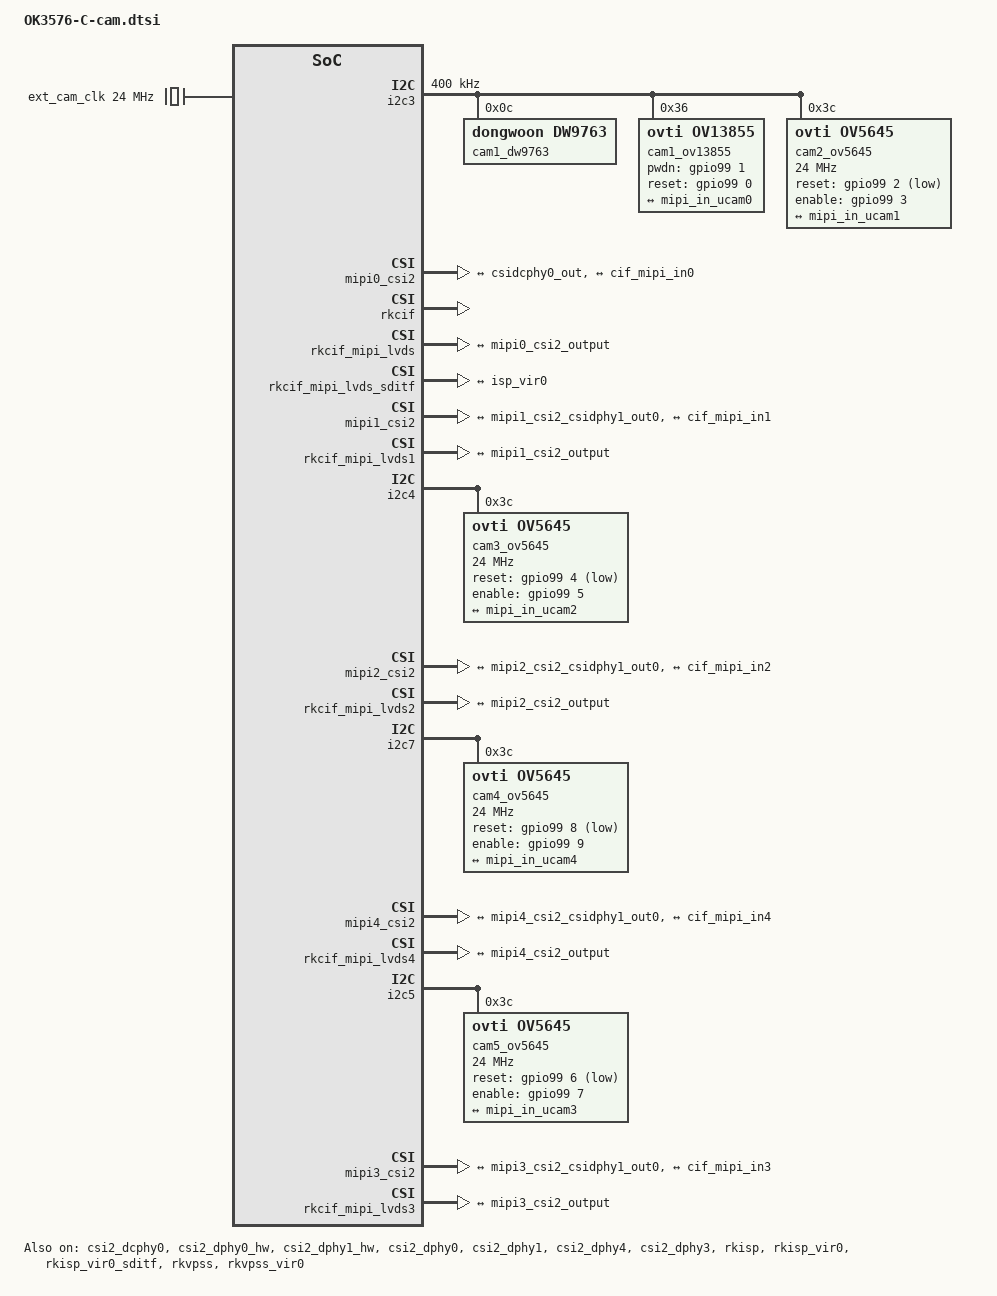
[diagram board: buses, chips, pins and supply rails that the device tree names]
// SPDX-License-Identifier: (GPL-2.0+ OR MIT)
/*
 * Copyright (c) 2024 Rockchip Electronics Co., Ltd.
 *
 */

/ {
	ext_cam_clk: external-camera-clock {
		compatible = "fixed-clock";
		clock-frequency = <24000000>;
		clock-output-names = "CLK_CAMERA_24MHZ";
		#clock-cells = <0>;
	};
};

&csi2_dcphy0 {
	status = "okay";

	ports {
		#address-cells = <1>;
		#size-cells = <0>;
		port@0 {
			reg = <0>;
			#address-cells = <1>;
			#size-cells = <0>;

			mipi_in_ucam0: endpoint@1 {
				reg = <1>;
				remote-endpoint = <&cam1_ov13855_out>;
				data-lanes = <1 2 3 4>;
			};
		};
		port@1 {
			reg = <1>;
			#address-cells = <1>;
			#size-cells = <0>;

			csidcphy0_out: endpoint@0 {
				reg = <0>;
				remote-endpoint = <&mipi0_csi2_input>;
			};
		};
	};
};

&i2c3 {
	status = "okay";
	clock-frequency = <400000>;

	cam1_dw9763: cam1-dw9763@c {
		compatible = "dongwoon,dw9763";
		status = "okay";
		reg = <0x0c>;
		rockchip,vcm-max-current = <120>;
		rockchip,vcm-start-current = <20>;
		rockchip,vcm-rated-current = <90>;
		rockchip,vcm-step-mode = <3>;
		rockchip,vcm-t-src = <0x20>;
		rockchip,vcm-t-div = <1>;
		rockchip,camera-module-index = <0>;
		rockchip,camera-module-facing = "back";
	};

	cam1_ov13855: cam1-ov13855@36 {
		compatible = "ovti,ov13855";
		status = "okay";
		reg = <0x36>;

		clocks = <&ext_cam_clk>;
		clock-names = "xvclk";

		pwdn-gpios = <&gpio99 1 GPIO_ACTIVE_HIGH>;
		reset-gpios = <&gpio99 0 GPIO_ACTIVE_HIGH>;

		rockchip,camera-module-index = <0>;
		rockchip,camera-module-facing = "back";
		rockchip,camera-module-name = "CMK-OT2016-FV1";
		rockchip,camera-module-lens-name = "default";
		lens-focus = <&cam1_dw9763>;
		port {
			cam1_ov13855_out: endpoint {
				remote-endpoint = <&mipi_in_ucam0>;
				data-lanes = <1 2 3 4>;
			};
		};
	};
};

&mipi0_csi2 {
	status = "okay";

	ports {
		#address-cells = <1>;
		#size-cells = <0>;

		port@0 {
			reg = <0>;
			#address-cells = <1>;
			#size-cells = <0>;

			mipi0_csi2_input: endpoint@1 {
				reg = <1>;
				remote-endpoint = <&csidcphy0_out>;
			};
		};

		port@1 {
			reg = <1>;
			#address-cells = <1>;
			#size-cells = <0>;

			mipi0_csi2_output: endpoint@0 {
				reg = <0>;
				remote-endpoint = <&cif_mipi_in0>;
			};
		};
	};
};

&rkcif {
	status = "okay";
};

&rkcif_mipi_lvds {
	status = "okay";

	port {
		cif_mipi_in0: endpoint {
			remote-endpoint = <&mipi0_csi2_output>;
		};
	};
};

&rkcif_mipi_lvds_sditf {
	status = "okay";

	port {
		mipi_lvds_sditf: endpoint {
			remote-endpoint = <&isp_vir0>;
		};
	};
};

//************************************************
//***  CAM2  OV5645 Configuration Description  ****
//************************************************

&csi2_dphy0_hw {
	status = "okay";
};
&csi2_dphy1_hw {
	status = "okay";
};
&i2c3 {
	status = "okay";
	cam2_ov5645: cam2_ov5645@3c {
		status = "okay";
		compatible = "ovti,ov5645";
		reg = <0x3c>;
		clocks = <&ext_cam_clk>;
		clock-names = "xclk";
		clock-frequency = <24000000>;

		reset-gpios = <&gpio99 2 GPIO_ACTIVE_LOW>;
		enable-gpios = <&gpio99 3 GPIO_ACTIVE_HIGH>;

		rockchip,camera-module-index = <1>;
		rockchip,camera-module-facing = "front";
		rockchip,camera-module-name = "NC";
		rockchip,camera-module-lens-name = "NC";
		port {
			cam2_ov5645_out: endpoint {
				remote-endpoint = <&mipi_in_ucam1>;
				data-lanes = <1 2>;
				clock-lanes = <2>;
			};
		};
	};
};

&csi2_dphy0 {
	status = "okay";
	ports {
		#address-cells = <1>;
		#size-cells = <0>;
		port@0 {
			reg = <0>;
			#address-cells = <1>;
			#size-cells = <0>;
			mipi_in_ucam1: endpoint@1 {
				reg = <1>;
				remote-endpoint = <&cam2_ov5645_out>;
				data-lanes = <1 2>;
				clock-lanes = <2>;
			};
		};
		port@1 {
			reg = <1>;
			#address-cells = <1>;
			#size-cells = <0>;
			mipi1_csi2_csidphy1_out0: endpoint@0 {
				reg = <0>;
				remote-endpoint = <&mipi1_csi2_input>;
			};
		};
	};
};

&mipi1_csi2 {
	status = "okay";
	ports {
		#address-cells = <1>;
		#size-cells = <0>;
		port@0 {
			reg = <0>;
			#address-cells = <1>;
			#size-cells = <0>;
			mipi1_csi2_input: endpoint@1 {
				reg = <1>;
				remote-endpoint = <&mipi1_csi2_csidphy1_out0>;
			};
		};
		port@1 {
			reg = <1>;
			#address-cells = <1>;
			#size-cells = <0>;
			mipi1_csi2_output: endpoint@0 {
				reg = <0>;
				remote-endpoint = <&cif_mipi_in1>;
			};
		};
	};
};

&rkcif_mipi_lvds1 {
	status = "okay";
	port {
		cif_mipi_in1: endpoint {
			remote-endpoint = <&mipi1_csi2_output>;
		};
	};
};
&rkcif_mipi_lvds1_sditf {
	status = "disabled";
};
//************************************************
//***  CAM3  OV5645 Configuration Description  ****
//************************************************


&i2c4 {
	status = "okay";
	pinctrl-0 = <&i2c4m3_xfer>;
	cam3_ov5645: cam3_ov5645@3c {
		status = "okay";
		compatible = "ovti,ov5645";
		reg = <0x3c>;
		clocks = <&ext_cam_clk>;
		clock-names = "xclk";
		clock-frequency = <24000000>;

		reset-gpios = <&gpio99 4 GPIO_ACTIVE_LOW>;
		enable-gpios = <&gpio99 5 GPIO_ACTIVE_HIGH>;

		rockchip,camera-module-index = <1>;
		rockchip,camera-module-facing = "front";
		rockchip,camera-module-name = "NC";
		rockchip,camera-module-lens-name = "NC";
		port {
			cam3_ov5645_out: endpoint {
				remote-endpoint = <&mipi_in_ucam2>;
				data-lanes = <1 2>;
				clock-lanes = <2>;
			};
		};
	};
};

&csi2_dphy1 {
	status = "okay";
	ports {
		#address-cells = <1>;
		#size-cells = <0>;
		port@0 {
			reg = <0>;
			#address-cells = <1>;
			#size-cells = <0>;
			mipi_in_ucam2: endpoint@1 {
				reg = <1>;
				remote-endpoint = <&cam3_ov5645_out>;
				data-lanes = <1 2>;
				clock-lanes = <2>;
			};
		};
		port@1 {
			reg = <1>;
			#address-cells = <1>;
			#size-cells = <0>;
			mipi2_csi2_csidphy1_out0: endpoint@0 {
				reg = <0>;
				remote-endpoint = <&mipi2_csi2_input>;
			};
		};
	};
};

&mipi2_csi2 {
	status = "okay";
	ports {
		#address-cells = <1>;
		#size-cells = <0>;
		port@0 {
			reg = <0>;
			#address-cells = <1>;
			#size-cells = <0>;
			mipi2_csi2_input: endpoint@1 {
				reg = <1>;
				remote-endpoint = <&mipi2_csi2_csidphy1_out0>;
			};
		};
		port@1 {
			reg = <1>;
			#address-cells = <1>;
			#size-cells = <0>;
			mipi2_csi2_output: endpoint@0 {
				reg = <0>;
				remote-endpoint = <&cif_mipi_in2>;
			};
		};
	};
};

&rkcif_mipi_lvds2 {
	status = "okay";
	port {
		cif_mipi_in2: endpoint {
			remote-endpoint = <&mipi2_csi2_output>;
		};
	};
};
&rkcif_mipi_lvds2_sditf {
	status = "disabled";
};
//************************************************
//***  CAM4  OV5645 Configuration Description  ****
//************************************************


&i2c7 {
	tatus = "okay";
	cam4_ov5645: cam4_ov5645@3c {
		status = "okay";
		compatible = "ovti,ov5645";
		reg = <0x3c>;
		clocks = <&ext_cam_clk>;
		clock-names = "xclk";
		clock-frequency = <24000000>;

		reset-gpios = <&gpio99 8 GPIO_ACTIVE_LOW>;
		enable-gpios = <&gpio99 9 GPIO_ACTIVE_HIGH>;

		rockchip,camera-module-index = <1>;
		rockchip,camera-module-facing = "front";
		rockchip,camera-module-name = "NC";
		rockchip,camera-module-lens-name = "NC";
		port {
			cam4_ov5645_out: endpoint {
				remote-endpoint = <&mipi_in_ucam4>;
				data-lanes = <1 2>;
				clock-lanes = <1>;
			};
		};
	};
};

&csi2_dphy4 {
	status = "okay";
	ports {
		#address-cells = <1>;
		#size-cells = <0>;
		port@0 {
			reg = <0>;
			#address-cells = <1>;
			#size-cells = <0>;
			mipi_in_ucam4: endpoint@1 {
				reg = <1>;
				remote-endpoint = <&cam4_ov5645_out>;
				data-lanes = <1 2>;
				clock-lanes = <1>;
			};
		};
		port@1 {
			reg = <1>;
			#address-cells = <1>;
			#size-cells = <0>;
			mipi4_csi2_csidphy1_out0: endpoint@0 {
				reg = <0>;
				remote-endpoint = <&mipi4_csi2_input>;
			};
		};
	};
};

&mipi4_csi2 {
	status = "okay";
	ports {
		#address-cells = <1>;
		#size-cells = <0>;
		port@0 {
			reg = <0>;
			#address-cells = <1>;
			#size-cells = <0>;
			mipi4_csi2_input: endpoint@1 {
				reg = <1>;
				remote-endpoint = <&mipi4_csi2_csidphy1_out0>;
			};
		};
		port@1 {
			reg = <1>;
			#address-cells = <1>;
			#size-cells = <0>;
			mipi4_csi2_output: endpoint@0 {
				reg = <0>;
				remote-endpoint = <&cif_mipi_in4>;
			};
		};
	};
};

&rkcif_mipi_lvds4 {
	status = "okay";
	port {
		cif_mipi_in4: endpoint {
			remote-endpoint = <&mipi4_csi2_output>;
		};
	};
};
&rkcif_mipi_lvds4_sditf {
	status = "disabled";
};
//************************************************
//***  CAM5  OV5645 Configuration Description  ****
//************************************************


&i2c5 {
	status = "okay";
	pinctrl-names = "default";
	pinctrl-0 = <&i2c5m3_xfer>;
	cam5_ov5645: cam5_ov5645@3c {
		status = "okay";
		compatible = "ovti,ov5645";
		reg = <0x3c>;
		clocks = <&ext_cam_clk>;
		clock-names = "xclk";
		clock-frequency = <24000000>;

		reset-gpios = <&gpio99 6 GPIO_ACTIVE_LOW>;
		enable-gpios = <&gpio99 7 GPIO_ACTIVE_HIGH>;

		rockchip,camera-module-index = <1>;
		rockchip,camera-module-facing = "front";
		rockchip,camera-module-name = "NC";
		rockchip,camera-module-lens-name = "NC";
		port {
			cam5_ov5645_out: endpoint {
				remote-endpoint = <&mipi_in_ucam3>;
				data-lanes = <1 2>;
				clock-lanes = <1>;
			};
		};
	};
};

&csi2_dphy3 {
	status = "okay";
	ports {
		#address-cells = <1>;
		#size-cells = <0>;
		port@0 {
			reg = <0>;
			#address-cells = <1>;
			#size-cells = <0>;
			mipi_in_ucam3: endpoint@1 {
				reg = <1>;
				remote-endpoint = <&cam5_ov5645_out>;
				data-lanes = <1 2>;
				clock-lanes = <1>;
			};
		};
		port@1 {
			reg = <1>;
			#address-cells = <1>;
			#size-cells = <0>;
			mipi3_csi2_csidphy1_out0: endpoint@0 {
				reg = <0>;
				remote-endpoint = <&mipi3_csi2_input>;
			};
		};
	};
};

&mipi3_csi2 {
	status = "okay";
	ports {
		#address-cells = <1>;
		#size-cells = <0>;
		port@0 {
			reg = <0>;
			#address-cells = <1>;
			#size-cells = <0>;
			mipi3_csi2_input: endpoint@1 {
				reg = <1>;
				remote-endpoint = <&mipi3_csi2_csidphy1_out0>;
			};
		};
		port@1 {
			reg = <1>;
			#address-cells = <1>;
			#size-cells = <0>;
			mipi3_csi2_output: endpoint@0 {
				reg = <0>;
				remote-endpoint = <&cif_mipi_in3>;
			};
		};
	};
};

&rkcif_mipi_lvds3 {
	status = "okay";
	port {
		cif_mipi_in3: endpoint {
			remote-endpoint = <&mipi3_csi2_output>;
		};
	};
};
&rkcif_mipi_lvds3_sditf {
	status = "disabled";
};


&rkcif_mmu {
	status = "okay";
};

&rkisp {
	status = "okay";
};

&rkisp_mmu {
	status = "okay";
};

&rkisp_vir0 {
	status = "okay";

	port {
		#address-cells = <1>;
		#size-cells = <0>;

		isp_vir0: endpoint@0 {
			reg = <0>;
			remote-endpoint = <&mipi_lvds_sditf>;
		};
	};
};

&rkisp_vir0_sditf {
	status = "okay";
};

&rkvpss {
	status = "okay";
};

&rkvpss_mmu {
	status = "okay";
};

&rkvpss_vir0 {
	status = "okay";
};
